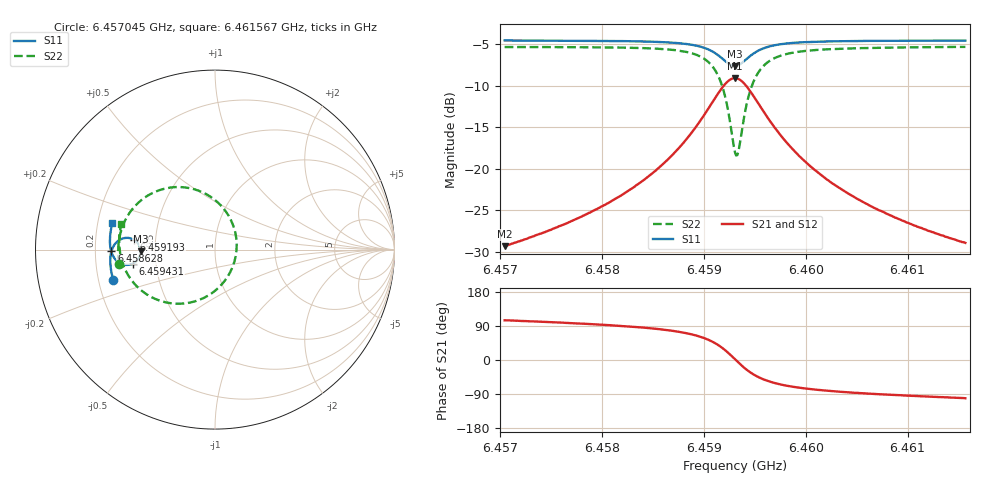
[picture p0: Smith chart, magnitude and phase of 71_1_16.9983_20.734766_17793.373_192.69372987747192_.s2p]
#  HZ  S  RI  R  50.00
! Rohde & Schwarz Vector Network Analyzer
! Rohde-Schwarz,ZNB20-2Port,1311601062101988,3.16
! Created: UTC 3/20/2024, 10:55:12 PM
! freq[Hz]  re:S11  im:S11  re:S21  im:S21  re:S12  im:S12  re:S22  im:S22
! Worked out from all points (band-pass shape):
!   401 points, 6.457045 GHz to 6.461567 GHz, reference 50 ohm
!   highest |S21| = -9.09 dB at 6.459306 GHz (marker M1); lowest = -29.3 dB at 6.457045 GHz (marker M2)
!   |S21| within 3 dB of the highest: 6.45908 GHz to 6.459532 GHz (452.3 kHz wide, 0.007 % of centre)
!   lowest |S11| = -7.6 dB at 6.459306 GHz (marker M3), VSWR 2.42, Z = 20.7 - j0.514 ohm
!   |S11| at or under -10 dB: nowhere
!   |S22| runs from -18.4 to -5.3 dB; largest |S21 - S12| = 0.014
!   S11 on the Smith chart (normalised r, x): 6.457045 GHz: 0.26, -0.14; 6.458628 GHz: 0.27, -0.01; 6.459193 GHz: 0.38, +0.05; 6.459431 GHz: 0.37, -0.07; 6.461567 GHz: 0.26, +0.12
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6.4570452e9  -0.5675 -0.1683  -0.00866 0.033  -0.00694 0.0329  -0.5348 -0.0778
6.4578026e9  -0.5809 -0.1018  -0.00543 0.0512  -0.00279 0.0506  -0.5389 0.0117
6.458187e9  -0.5834 -0.0631  0.000122 0.0689  0.00328 0.0676  -0.5313 0.0729
6.4585601e9  -0.5794 -0.0185  0.015 0.1003  0.019 0.0975  -0.5034 0.157
6.4586279e9  -0.5771 -0.00893  0.0205 0.1088  0.0246 0.1055  -0.4931 0.177
6.4588201e9  -0.5641 0.0216  0.0477 0.1402  0.0518 0.1352  -0.442 0.2465
6.4589671e9  -0.5409 0.0479  0.094 0.1709  0.0971 0.1642  -0.3568 0.3109
6.4591028e9  -0.4963 0.0652  0.1827 0.1873  0.1835 0.1799  -0.1945 0.3485
6.4591932e9  -0.4508 0.0544  0.2739 0.1546  0.2743 0.1489  -0.0259 0.2953
6.459261e9  -0.4213 0.0214  0.335 0.0812  0.3372 0.0759  0.0899 0.1622
6.4593063e9  -0.4146 -0.0103  0.351 0.012  0.3548 0.00498  0.1208 0.0331
6.4593402e9  -0.4187 -0.0345  0.3445 -0.0412  0.3486 -0.0504  0.1078 -0.0679
6.4593854e9  -0.4347 -0.061  0.3151 -0.1018  0.3175 -0.1138  0.0479 -0.1818
6.4594306e9  -0.4572 -0.0777  0.2721 -0.1429  0.2712 -0.1564  -0.039 -0.2568
6.4595211e9  -0.5013 -0.0846  0.1859 -0.1739  0.1796 -0.1855  -0.2103 -0.3015
6.4595889e9  -0.5259 -0.0773  0.1369 -0.1718  0.1288 -0.1807  -0.3048 -0.2856
6.459668e9  -0.5457 -0.0641  0.097 -0.1593  0.0884 -0.1656  -0.3795 -0.2501
6.4598263e9  -0.5678 -0.0363  0.0518 -0.1307  0.044 -0.1336  -0.4601 -0.1768
6.4600637e9  -0.5807 -0.000718  0.0224 -0.0987  0.0164 -0.0992  -0.5081 -0.0935
6.4603916e9  -0.5853 0.0386  0.00667 -0.0721  0.00245 -0.0717  -0.5289 -0.0161
6.4608212e9  -0.5837 0.0823  -0.0015 -0.0527  -0.00432 -0.0518  -0.5334 0.0541
6.4615674e9  -0.572 0.1487  -0.00676 -0.0351  -0.0083 -0.0342  -0.5222 0.1431
